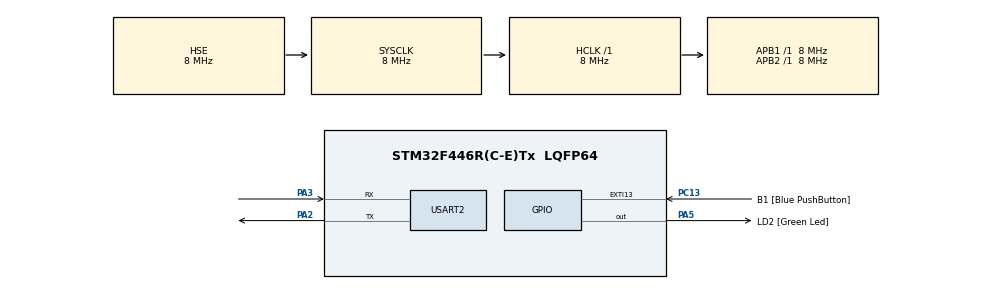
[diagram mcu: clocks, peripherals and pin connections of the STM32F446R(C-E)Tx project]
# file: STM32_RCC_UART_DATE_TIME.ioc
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Mcu.Family=STM32F4
Mcu.Name=STM32F446R(C-E)Tx
Mcu.Package=LQFP64
NVIC.EXTI15_10_IRQn=true\:0\:0\:false\:false\:true\:true\:true\:true
NVIC.PriorityGroup=NVIC_PRIORITYGROUP_0
PA13.GPIO_Label=TMS
PA13.Mode=Serial_Wire
PA13.Signal=SYS_JTMS-SWDIO
PA14.GPIO_Label=TCK
PA14.Mode=Serial_Wire
PA14.Signal=SYS_JTCK-SWCLK
PA2.GPIO_ModeDefaultPP=GPIO_MODE_AF_PP
PA2.GPIO_PuPd=GPIO_NOPULL
PA2.GPIO_Speed=GPIO_SPEED_FREQ_VERY_HIGH
PA2.Mode=Asynchronous
PA2.Signal=USART2_TX
PA3.GPIO_ModeDefaultPP=GPIO_MODE_AF_PP
PA3.GPIO_PuPd=GPIO_NOPULL
PA3.GPIO_Speed=GPIO_SPEED_FREQ_VERY_HIGH
PA3.Mode=Asynchronous
PA3.Signal=USART2_RX
PA5.GPIO_Label=LD2 [Green Led]
PA5.Signal=GPIO_Output
PB3.GPIO_Label=SWO
PB3.Signal=SYS_JTDO-SWO
PC13.GPIO_Label=B1 [Blue PushButton]
PC13.GPIO_ModeDefaultEXTI=GPIO_MODE_IT_RISING
PC13.GPIO_PuPd=GPIO_PULLDOWN
PC13.Signal=GPXTI13
PC14-OSC32_IN.Mode=LSE-External-Oscillator
PC14-OSC32_IN.Signal=RCC_OSC32_IN
PC15-OSC32_OUT.Mode=LSE-External-Oscillator
PC15-OSC32_OUT.Signal=RCC_OSC32_OUT
PH0-OSC_IN.Mode=HSE-External-Oscillator
PH0-OSC_IN.Signal=RCC_OSC_IN
PH1-OSC_OUT.Mode=HSE-External-Oscillator
PH1-OSC_OUT.Signal=RCC_OSC_OUT
ProjectManager.HeapSize=0x200
ProjectManager.StackSize=0x400
ProjectManager.TargetToolchain=STM32CubeIDE
RCC.AHBFreq_Value=8000000
RCC.APB1Freq_Value=8000000
RCC.APB1TimFreq_Value=8000000
RCC.APB2Freq_Value=8000000
RCC.APB2TimFreq_Value=8000000
RCC.CortexFreq_Value=8000000
RCC.HCLKFreq_Value=8000000
RCC.HSE_VALUE=8000000
RCC.PLLSourceVirtual=RCC_PLLSOURCE_HSE
RCC.SYSCLKFreq_VALUE=8000000
RCC.SYSCLKSource=RCC_SYSCLKSOURCE_HSE
RCC.USBFreq_Value=48000000
RCC.VCOOutputFreq_Value=96000000
USART2.VirtualMode=VM_ASYNC
VP_RTC_VS_RTC_Activate.Mode=RTC_Enabled
board=NUCLEO-F446RE

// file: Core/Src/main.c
/* USER CODE BEGIN Header */
/**
  ******************************************************************************
  * @file           : main.c
  * @brief          : Main program body
  ******************************************************************************
  * @attention
  *
  * Copyright (c) 2024 STMicroelectronics.
  * All rights reserved.
  *
  * This software is licensed under terms that can be found in the LICENSE file
  * in the root directory of this software component.
  * If no LICENSE file comes with this software, it is provided AS-IS.
  *
  ******************************************************************************
  */
/* USER CODE END Header */
#include "main.h"

/* USER CODE BEGIN Includes */
#include "string.h"
#include "stdio.h"
#include "stdarg.h"
/* USER CODE END Includes */

RTC_HandleTypeDef hrtc;

UART_HandleTypeDef huart2;

/* USER CODE BEGIN PV */
//void printmsg(char *format,...);
uint8_t transmitMessageViaUartFLAG = 0;
char msg[10] = "Hello\r\n";
/* USER CODE END PV */

void SystemClock_Config(void);
static void MX_GPIO_Init(void);
static void MX_USART2_UART_Init(void);
static void MX_RTC_Init(void);
void printDateAndTime(RTC_HandleTypeDef *handleRTC);

/* USER CODE BEGIN 0 */

//void printmsg(char *format,...)
//{
//	char str[80];
//
//	va_list args;
//	va_start(args, format);
//	vsprintf(str, format, args);
//	HAL_UART_Transmit(&huart2, (uint8_t *)str, strlen(str), HAL_MAX_DELAY);
//}

/* USER CODE END 0 */

int main(void)
{

  /* MCU Configuration--------------------------------------------------------*/

  /* Reset of all peripherals, Initializes the Flash interface and the Systick. */
  HAL_Init();

  /* Configure the system clock */
  SystemClock_Config();

  /* Initialize all configured peripherals */
  MX_GPIO_Init();
  MX_USART2_UART_Init();
  MX_RTC_Init();

  /* Infinite loop */
  while (1)
  {

    /* USER CODE BEGIN 3 */

	  if(transmitMessageViaUartFLAG == 1)
	  {
		  printDateAndTime(&hrtc);
		  transmitMessageViaUartFLAG = 0;
	  }
  }
  /* USER CODE END 3 */
}

void SystemClock_Config(void)
{
  RCC_OscInitTypeDef RCC_OscInitStruct = {0};
  RCC_ClkInitTypeDef RCC_ClkInitStruct = {0};

  /** Configure the main internal regulator output voltage
  */
  __HAL_RCC_PWR_CLK_ENABLE();
  __HAL_PWR_VOLTAGESCALING_CONFIG(PWR_REGULATOR_VOLTAGE_SCALE3);

  /** Initializes the RCC Oscillators according to the specified parameters
  * in the RCC_OscInitTypeDef structure.
  */
  RCC_OscInitStruct.OscillatorType = RCC_OSCILLATORTYPE_LSI|RCC_OSCILLATORTYPE_HSE;
  RCC_OscInitStruct.HSEState = RCC_HSE_ON;
  RCC_OscInitStruct.LSEState = RCC_LSE_ON;
  RCC_OscInitStruct.LSIState = RCC_LSI_ON;
  RCC_OscInitStruct.PLL.PLLState = RCC_PLL_NONE;
  if (HAL_RCC_OscConfig(&RCC_OscInitStruct) != HAL_OK)
  {
    Error_Handler();
  }

  /** Initializes the CPU, AHB and APB buses clocks
  */
  RCC_ClkInitStruct.ClockType = RCC_CLOCKTYPE_HCLK|RCC_CLOCKTYPE_SYSCLK
                              |RCC_CLOCKTYPE_PCLK1|RCC_CLOCKTYPE_PCLK2;
  RCC_ClkInitStruct.SYSCLKSource = RCC_SYSCLKSOURCE_HSE;
  RCC_ClkInitStruct.AHBCLKDivider = RCC_SYSCLK_DIV1;
  RCC_ClkInitStruct.APB1CLKDivider = RCC_HCLK_DIV1;
  RCC_ClkInitStruct.APB2CLKDivider = RCC_HCLK_DIV1;

  if (HAL_RCC_ClockConfig(&RCC_ClkInitStruct, FLASH_LATENCY_0) != HAL_OK)
  {
    Error_Handler();
  }
}

static void MX_RTC_Init(void)
{

  /** Initialize RTC Only
  */
  hrtc.Instance = RTC;
  hrtc.Init.HourFormat = RTC_HOURFORMAT_24;
  hrtc.Init.AsynchPrediv = 127;
  hrtc.Init.SynchPrediv = 255;
  hrtc.Init.OutPut = RTC_OUTPUT_DISABLE;
  hrtc.Init.OutPutPolarity = RTC_OUTPUT_POLARITY_HIGH;
  hrtc.Init.OutPutType = RTC_OUTPUT_TYPE_OPENDRAIN;
  if (HAL_RTC_Init(&hrtc) != HAL_OK)
  {
    Error_Handler();
  }
  /* USER CODE BEGIN RTC_Init 2 */
	RTC_TimeTypeDef rtcTime = {0};
	RTC_DateTypeDef rtcDate = {0};

	rtcTime.Hours = 16;
	rtcTime.Minutes = 54;
	rtcTime.Seconds = 30;
	rtcTime.TimeFormat = RTC_HOURFORMAT12_PM;

	rtcDate.Date = 6;
	rtcDate.Month = RTC_MONTH_SEPTEMBER;
	rtcDate.WeekDay = RTC_WEEKDAY_FRIDAY;
	rtcDate.Year = 24;

	HAL_RTC_SetTime(&hrtc, &rtcTime, RTC_FORMAT_BIN);
	HAL_RTC_SetDate(&hrtc, &rtcDate, RTC_FORMAT_BIN);
  /* USER CODE END RTC_Init 2 */

}

static void MX_USART2_UART_Init(void)
{

  huart2.Instance = USART2;
  huart2.Init.BaudRate = 115200;
  huart2.Init.WordLength = UART_WORDLENGTH_8B;
  huart2.Init.StopBits = UART_STOPBITS_1;
  huart2.Init.Parity = UART_PARITY_NONE;
  huart2.Init.Mode = UART_MODE_TX_RX;
  huart2.Init.HwFlowCtl = UART_HWCONTROL_NONE;
  huart2.Init.OverSampling = UART_OVERSAMPLING_16;
  if (HAL_UART_Init(&huart2) != HAL_OK)
  {
    Error_Handler();
  }

}

static void MX_GPIO_Init(void)
{
  GPIO_InitTypeDef GPIO_InitStruct = {0};

  /* GPIO Ports Clock Enable */
  __HAL_RCC_GPIOC_CLK_ENABLE();
  __HAL_RCC_GPIOH_CLK_ENABLE();
  __HAL_RCC_GPIOA_CLK_ENABLE();
  __HAL_RCC_GPIOB_CLK_ENABLE();

  /*Configure GPIO pin Output Level */
  HAL_GPIO_WritePin(LD2_GPIO_Port, LD2_Pin, GPIO_PIN_RESET);

  /*Configure GPIO pin : B1_Pin */
  GPIO_InitStruct.Pin = B1_Pin;
  GPIO_InitStruct.Mode = GPIO_MODE_IT_RISING;
  GPIO_InitStruct.Pull = GPIO_PULLDOWN;
  HAL_GPIO_Init(B1_GPIO_Port, &GPIO_InitStruct);

  /*Configure GPIO pin : LD2_Pin */
  GPIO_InitStruct.Pin = LD2_Pin;
  GPIO_InitStruct.Mode = GPIO_MODE_OUTPUT_PP;
  GPIO_InitStruct.Pull = GPIO_NOPULL;
  GPIO_InitStruct.Speed = GPIO_SPEED_FREQ_LOW;
  HAL_GPIO_Init(LD2_GPIO_Port, &GPIO_InitStruct);

  /* EXTI interrupt init*/
  HAL_NVIC_SetPriority(EXTI15_10_IRQn, 0, 0);
  HAL_NVIC_EnableIRQ(EXTI15_10_IRQn);

/* USER CODE BEGIN MX_GPIO_Init_2 */

  HAL_NVIC_SetPriority(EXTI15_10_IRQn, 15, 0);
  HAL_NVIC_EnableIRQ(EXTI15_10_IRQn);
/* USER CODE END MX_GPIO_Init_2 */
}

/* USER CODE BEGIN 4 */
 void HAL_GPIO_EXTI_Callback(uint16_t GPIO_Pin)
{
	// RTC_TimeTypeDef RTC_TimeRead;
	// RTC_DateTypeDef RTC_DateRead;

	// HAL_RTC_GetTime(&hrtc, &RTC_TimeRead, RTC_FORMAT_BIN);
	// HAL_RTC_GetDate(&hrtc, &RTC_DateRead, RTC_FORMAT_BIN);

	 if(transmitMessageViaUartFLAG == 0)
		 {
		 transmitMessageViaUartFLAG = 1;
		 HAL_GPIO_TogglePin(LD2_GPIO_Port, LD2_Pin);
		 }

//	 printmsg("Current Time is: %02d:%02d:%02d\r\n", RTC_TimeRead.Hours,
//			 RTC_TimeRead.Minutes, RTC_TimeRead.Seconds);
//	 printmsg("Current Date is: %02d-%02d-%02d\r\n", RTC_DateRead.WeekDay,
//			 RTC_DateRead.Month, RTC_DateRead.Year);

	 //sprintf(msg,"Current Time is: %02d:%02d:%02d\r\n", RTC_TimeRead.Hours,
		//	 RTC_TimeRead.Minutes, RTC_TimeRead.Seconds);

}

void printDateAndTime(RTC_HandleTypeDef *handleRTC)
{
	 RTC_TimeTypeDef RTC_TimeRead;
	 RTC_DateTypeDef RTC_DateRead;

	 HAL_RTC_GetTime(handleRTC, &RTC_TimeRead, RTC_FORMAT_BIN);
	 HAL_RTC_GetDate(handleRTC, &RTC_DateRead, RTC_FORMAT_BIN);
	char buffer[50];
	 sprintf(buffer,"Current Time is: %02d:%02d:%02d\r\n", RTC_TimeRead.Hours,
			 RTC_TimeRead.Minutes, RTC_TimeRead.Seconds);

	 HAL_UART_Transmit(&huart2, (uint8_t* )buffer, strlen(buffer), HAL_MAX_DELAY);
}
/* USER CODE END 4 */

void Error_Handler(void)
{
  __disable_irq();
  while (1)
  {
  }
}
